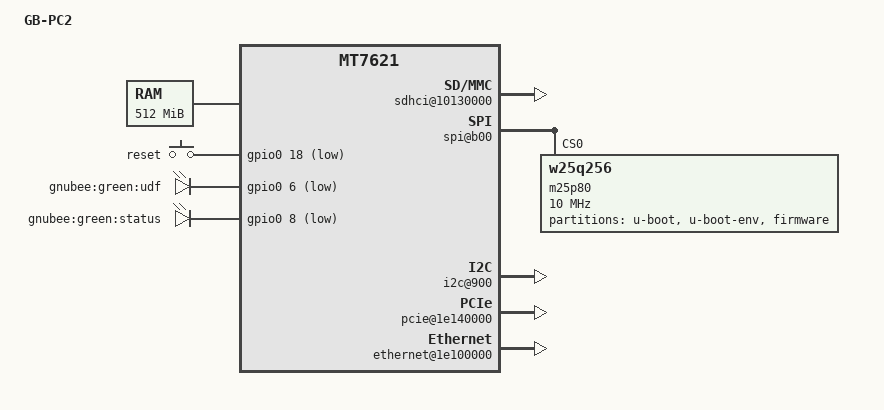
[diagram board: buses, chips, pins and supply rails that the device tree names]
/dts-v1/;

/include/ "mt7621.dtsi"

/ {
	compatible = "mediatek,mt7621-eval-board", "mediatek,mt7621-soc";
	model = "GB-PC2";

	memory@0 {
		device_type = "memory";
		reg = <0x0 0x1c000000>, <0x20000000 0x4000000>;
	};

	chosen {
		bootargs = "console=ttyS0,57600";
	};

	sdhci@10130000 {
		status = "okay";
	};

	palmbus@1E000000 {
		spi@b00 {
			status = "okay";

			m25p80@0 {
				#address-cells = <1>;
				#size-cells = <1>;
				compatible = "w25q256";
				reg = <0 0>;
				linux,modalias = "m25p80", "mx25u25635f";
				spi-max-frequency = <10000000>;

				partition@0 {
					label = "u-boot";
					reg = <0x0 0x30000>;
					read-only;
				};

				partition@30000 {
					label = "u-boot-env";
					reg = <0x30000 0x10000>;
				};

				partition@40000 {
					label = "firmware";
					reg = <0x50000 0x7b0000>;
				};

			};
		};

		i2c@900 {
			compatible = "ralink,i2c-mt7621";
			reg = <0x900 0x100>;
			#address-cells = <1>;
			#size-cells = <0>;
			pinctrl-names = "default";
			pinctrl-0 = <&i2c_pins>;
			status = "okay";
		};
	};

	pcie@1e140000 {
		status = "okay";
	};

	ethernet@1e100000 {
		status = "okay";
	};

	gpio-keys-polled {
		compatible = "gpio-keys-polled";
		#address-cells = <1>;
		#size-cells = <0>;
		poll-interval = <20>;

		reset {
			label = "reset";
			gpios = <&gpio0 18 1>;
			linux,code = <0x198>;
		};
	};

	gpio-leds {
		compatible = "gpio-leds";

		udf {
			label = "gnubee:green:udf";
			gpios = <&gpio0 6 1>;
		};

		status {
			label = "gnubee:green:status";
			gpios = <&gpio0 8 1>;
		};
	};

	gpio-power {
		compatible = "gpio-power";

		14 {
			label = "gnubee:power:gpio26";
			gpios = <&gpio0 14 0>;
		};

		15 {
			label = "gnubee:power:gpio28";
			gpios = <&gpio0 15 1>;
		};
		16 {
			label = "gnubee:power:gpio29";
			gpios = <&gpio0 16 0>;
		};

		17 {
			label = "gnubee:power:gpio30";
			gpios = <&gpio0 17 1>;
		};
	};

	pinctrl {
		state_default: pinctrl0 {
			gpio {
				ralink,group = "wdt", "rgmii2", "mdio";
				ralink,function = "gpio";
			};
		};
	};
};
